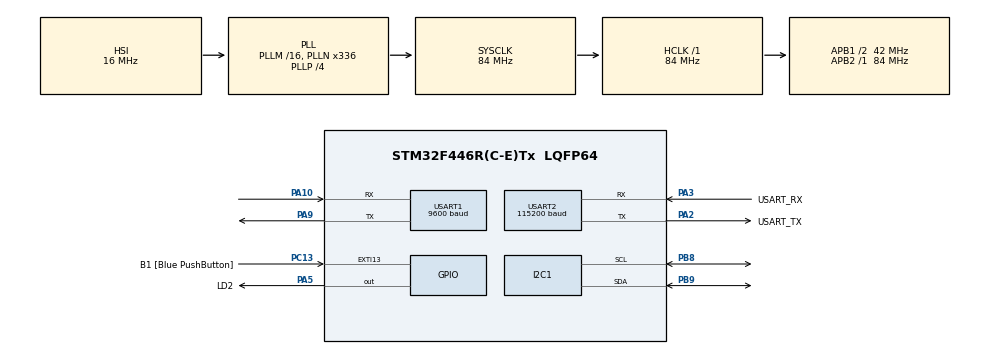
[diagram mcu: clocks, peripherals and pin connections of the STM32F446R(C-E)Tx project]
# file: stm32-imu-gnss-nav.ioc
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Mcu.Family=STM32F4
Mcu.Name=STM32F446R(C-E)Tx
Mcu.Package=LQFP64
NVIC.PriorityGroup=NVIC_PRIORITYGROUP_0
NVIC.USART1_IRQn=true\:0\:0\:false\:false\:true\:true\:true\:true
PA10.Mode=Asynchronous
PA10.Signal=USART1_RX
PA13.GPIO_Label=TMS
PA13.Mode=Serial_Wire
PA13.Signal=SYS_JTMS-SWDIO
PA14.GPIO_Label=TCK
PA14.Mode=Serial_Wire
PA14.Signal=SYS_JTCK-SWCLK
PA2.GPIO_Label=USART_TX
PA2.Mode=Asynchronous
PA2.Signal=USART2_TX
PA3.GPIO_Label=USART_RX
PA3.Mode=Asynchronous
PA3.Signal=USART2_RX
PA5.GPIO_Label=LD2
PA5.Signal=GPIO_Output
PA9.Mode=Asynchronous
PA9.Signal=USART1_TX
PB3.GPIO_Label=SWO
PB3.Signal=SYS_JTDO-SWO
PB8.Mode=I2C
PB8.Signal=I2C1_SCL
PB9.Mode=I2C
PB9.Signal=I2C1_SDA
PC13.GPIO_Label=B1 [Blue PushButton]
PC13.GPIO_ModeDefaultEXTI=GPIO_MODE_IT_FALLING
PC13.Signal=GPXTI13
PC14-OSC32_IN.Mode=LSE-External-Oscillator
PC14-OSC32_IN.Signal=RCC_OSC32_IN
PC15-OSC32_OUT.Mode=LSE-External-Oscillator
PC15-OSC32_OUT.Signal=RCC_OSC32_OUT
PH0-OSC_IN.Mode=HSE-External-Oscillator
PH0-OSC_IN.Signal=RCC_OSC_IN
PH1-OSC_OUT.Mode=HSE-External-Oscillator
PH1-OSC_OUT.Signal=RCC_OSC_OUT
ProjectManager.HeapSize=0x200
ProjectManager.StackSize=0x400
ProjectManager.TargetToolchain=STM32CubeIDE
RCC.48MHZClocksFreq_Value=84000000
RCC.AHBFreq_Value=84000000
RCC.APB1CLKDivider=RCC_HCLK_DIV2
RCC.APB1Freq_Value=42000000
RCC.APB1TimFreq_Value=84000000
RCC.APB2Freq_Value=84000000
RCC.APB2TimFreq_Value=84000000
RCC.CortexFreq_Value=84000000
RCC.FLatency-AdvancedSettings=FLASH_LATENCY_2
RCC.HCLKFreq_Value=84000000
RCC.HSE_VALUE=8000000
RCC.HSI_VALUE=16000000
RCC.PLLN=336
RCC.PLLP=RCC_PLLP_DIV4
RCC.SYSCLKFreq_VALUE=84000000
RCC.SYSCLKSource=RCC_SYSCLKSOURCE_PLLCLK
RCC.USBFreq_Value=168000000
RCC.VCOOutputFreq_Value=336000000
USART1.BaudRate=9600
USART1.VirtualMode=VM_ASYNC
USART2.BaudRate=115200
USART2.VirtualMode=VM_ASYNC
board=NUCLEO-F446RE

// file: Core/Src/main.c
/* USER CODE BEGIN Header */
/**
  ******************************************************************************
  * @file           : main.c
  * @brief          : Main program body
  ******************************************************************************
  * @attention
  *
  * Copyright (c) 2026 STMicroelectronics.
  * All rights reserved.
  *
  * This software is licensed under terms that can be found in the LICENSE file
  * in the root directory of this software component.
  * If no LICENSE file comes with this software, it is provided AS-IS.
  *
  ******************************************************************************
  */
/* USER CODE END Header */
#include "main.h"

/* USER CODE BEGIN Includes */
#include "stdio.h"
#include <string.h>   // para strncmp
#include <stdlib.h>   // para atof, atoi
/* USER CODE END Includes */

I2C_HandleTypeDef hi2c1;

UART_HandleTypeDef huart1;
UART_HandleTypeDef huart2;

/* USER CODE BEGIN PV */

/* ------------------------Variables glovales para el IMU ----------------------------------------- */
uint8_t who_am_i   = 0; //
uint8_t config     = 0;
uint8_t buffer[6]  = {0};
int16_t acc_x, acc_y, acc_z;
float   acc_x_g, acc_y_g, acc_z_g;
char    uart_buf[64];
/* ------------------------Variables glovales para el IMU ----------------------------------------- */

/* ------------------------Variables glovales para el GPS ----------------------------------------- */
uint8_t gps_rx_byte;
char gps_line_buffer[100];
char gps_buf_A[100];
char gps_buf_B[100];
char *gps_fill    = gps_buf_A;  // buffer para rellenar en al interrupción
char *gps_display = gps_buf_B;  // buffer para imprimir
uint8_t gps_line_index = 0; // El contador que va a hacer de puntero
volatile uint8_t gps_line_ready = 0;  //Necesario que sea volatile

typedef struct {
    uint8_t  valido;       // 1 si el fix es válido, 0 si no
    double   latitud;      // en grados decimales, positivo = Norte
    double   longitud;     // en grados decimales, positivo = Este
    float    altitud;      // metros sobre el nivel del mar
    uint8_t  num_satelites;
    float    hdop;
    char     hora[12];          // hhmmss.ss
    float    velocidad_kmh;   // de RMC
    float    rumbo;             // grados respecto al norte, de RMC

} GPS_Fix_t;
GPS_Fix_t gps_fix = {0};

/* ------------------------Variables glovales para el IMU ----------------------------------------- */

/* USER CODE END PV */

/* USER CODE BEGIN PFP */
/* Private function prototypes -----------------------------------------------*/
void SystemClock_Config(void);
static void MX_GPIO_Init(void);
static void MX_I2C1_Init(void);
static void MX_USART2_UART_Init(void);
static void MX_USART1_UART_Init(void);
int trocear_gga(char *sentence, char *campos[], int max_campos);
double nmea_a_decimal(const char *campo, char direccion);
uint8_t parsear_gngga(char *trama);   // antes: void parsear_gngga(char *trama);
uint8_t parsear_gnrmc(char *trama);

/* USER CODE END PFP */

/* USER CODE BEGIN 0 */

 //-----------------------------------codigo completamente necesaro para poder usar printf()---------------------------------------------------------

#ifdef __GNUC__
#define PUTCHAR_PROTOTYPE int __io_putchar(int ch)
#else
#define PUTCHAR_PROTOTYPE int fputc(int ch, FILE *f)
#endif

PUTCHAR_PROTOTYPE
{
/* Cambia &huart2 por la instancia de UART que esté conectada a tu ST-Link */
HAL_UART_Transmit(&huart2, (uint8_t *)&ch, 1, HAL_MAX_DELAY);
return ch;
}

 //-----------------------------------codigo completamente necesaro para poder usar printf()---------------------------------------------------------

/* USER CODE END 0 */

int main(void)
{

  /* MCU Configuration--------------------------------------------------------*/

  /* Reset of all peripherals, Initializes the Flash interface and the Systick. */
  HAL_Init();

  /* Configure the system clock */
  SystemClock_Config();

  /* Initialize all configured peripherals */
  MX_GPIO_Init();
  MX_I2C1_Init();
  MX_USART2_UART_Init();
  MX_USART1_UART_Init();
  /* USER CODE BEGIN 2 */

  printf("Sistema antes iniciado\r\n");

  printf("Escaneando bus I2C...\r\n");
  for (uint8_t addr = 1; addr < 128; addr++) {
      if (HAL_I2C_IsDeviceReady(&hi2c1, addr << 1, 2, 10) == HAL_OK) {
          printf("Dispositivo encontrado en: 0x%02X\r\n", addr);
      }
  }
  printf("Scan completado\r\n");

  // 1. Verificar que el IMU responde (WHO_AM_I debe devolver 0x6B)
  HAL_I2C_Mem_Read(&hi2c1, 0x6B << 1, 0x0F, 1, &who_am_i, 1, HAL_MAX_DELAY);

  printf("WHO_AM_I: 0x%02X\r\n", who_am_i);
  if (who_am_i != 0x6B) {
	  printf("no detecta el imu\r\n");

	  printf("---------------------------------------\r\n");
      // IMU no responde — revisar cableado y dirección I2C
      Error_Handler();
  }

  // 2. Activar acelerómetro: 104 Hz, rango ±2g
  config = 0x40;
  HAL_I2C_Mem_Write(&hi2c1, 0x6B << 1, 0x10, 1, &config, 1, HAL_MAX_DELAY);

  // 3. Activar giroscopio: 104 Hz, rango ±250 dps
  config = 0x40;
  HAL_I2C_Mem_Write(&hi2c1, 0x6B << 1, 0x11, 1, &config, 1, HAL_MAX_DELAY);

  HAL_Delay(10); // esperar a que el sensor arranque
  printf("Sistema iniciado\r\n");

  HAL_UART_Receive_IT(&huart1, &gps_rx_byte, 1);

  /* USER CODE END 2 */

  /* Infinite loop */
  /* USER CODE BEGIN WHILE */
  while (1)
  {
	  // Leer 6 bytes del acelerómetro desde OUTX_L_A (0x28)

	   HAL_I2C_Mem_Read(&hi2c1, 0x6B << 1, 0x28, 1, buffer, 6, HAL_MAX_DELAY);

	   //prueba lectura de acelerómetro
	      // Combinar bytes (little-endian)
	     /*
	      *  acc_x = (int16_t)(buffer[1] << 8 | buffer[0]);
	      acc_y = (int16_t)(buffer[3] << 8 | buffer[2]);
	      acc_z = (int16_t)(buffer[5] << 8 | buffer[4]);

	      // Convertir a g (sensibilidad 0.061 mg/LSB para ±2g)
	      acc_x_g = acc_x * 0.000061f;
	      acc_y_g = acc_y * 0.000061f;
	      acc_z_g = acc_z * 0.000061f;

	      // Enviar por UART para verlo en el monitor serie
	      printf("X:%.3f Y:%.3f Z:%.3f\r\n", acc_x_g, acc_y_g, acc_z_g);

	      HAL_Delay(100); // 10 Hz
	      *
	      */

	   if (gps_line_ready)
	   {
	       if (parsear_gngga(gps_display))          // <-- SOLO entra si de verdad era GGA
	       {
	           if (gps_fix.valido)
	           {
	               printf("POS[%s]: lat=%.6f lon=%.6f alt=%.1fm sat=%d hdop=%.2f\r\n",
	                      gps_fix.hora, gps_fix.latitud, gps_fix.longitud,
	                      gps_fix.altitud, gps_fix.num_satelites, gps_fix.hdop);
	           }
	           else
	           {
	               printf("GPS[%s]: sin fix\r\n", gps_fix.hora);
	           }
	       }
	       else if (parsear_gnrmc(gps_display))     // <-- ahora SÍ se evalúa cada línea, no solo cuando gps_line_ready es falso
	       {
	           printf("MOV: vel=%.2f km/h rumbo=%.1f grados\r\n",
	                  gps_fix.velocidad_kmh, gps_fix.rumbo);
	       }

	       gps_line_ready = 0;
	   }

	         // HAL_Delay(1000);

  }

    /* USER CODE END WHILE */

}

void SystemClock_Config(void)
{
  RCC_OscInitTypeDef RCC_OscInitStruct = {0};
  RCC_ClkInitTypeDef RCC_ClkInitStruct = {0};

  /** Configure the main internal regulator output voltage
  */
  __HAL_RCC_PWR_CLK_ENABLE();
  __HAL_PWR_VOLTAGESCALING_CONFIG(PWR_REGULATOR_VOLTAGE_SCALE3);

  /** Initializes the RCC Oscillators according to the specified parameters
  * in the RCC_OscInitTypeDef structure.
  */
  RCC_OscInitStruct.OscillatorType = RCC_OSCILLATORTYPE_HSI;
  RCC_OscInitStruct.HSIState = RCC_HSI_ON;
  RCC_OscInitStruct.HSICalibrationValue = RCC_HSICALIBRATION_DEFAULT;
  RCC_OscInitStruct.PLL.PLLState = RCC_PLL_ON;
  RCC_OscInitStruct.PLL.PLLSource = RCC_PLLSOURCE_HSI;
  RCC_OscInitStruct.PLL.PLLM = 16;
  RCC_OscInitStruct.PLL.PLLN = 336;
  RCC_OscInitStruct.PLL.PLLP = RCC_PLLP_DIV4;
  RCC_OscInitStruct.PLL.PLLQ = 2;
  RCC_OscInitStruct.PLL.PLLR = 2;
  if (HAL_RCC_OscConfig(&RCC_OscInitStruct) != HAL_OK)
  {
    Error_Handler();
  }

  /** Initializes the CPU, AHB and APB buses clocks
  */
  RCC_ClkInitStruct.ClockType = RCC_CLOCKTYPE_HCLK|RCC_CLOCKTYPE_SYSCLK
                              |RCC_CLOCKTYPE_PCLK1|RCC_CLOCKTYPE_PCLK2;
  RCC_ClkInitStruct.SYSCLKSource = RCC_SYSCLKSOURCE_PLLCLK;
  RCC_ClkInitStruct.AHBCLKDivider = RCC_SYSCLK_DIV1;
  RCC_ClkInitStruct.APB1CLKDivider = RCC_HCLK_DIV2;
  RCC_ClkInitStruct.APB2CLKDivider = RCC_HCLK_DIV1;

  if (HAL_RCC_ClockConfig(&RCC_ClkInitStruct, FLASH_LATENCY_2) != HAL_OK)
  {
    Error_Handler();
  }
}

static void MX_I2C1_Init(void)
{

  hi2c1.Instance = I2C1;
  hi2c1.Init.ClockSpeed = 100000;
  hi2c1.Init.DutyCycle = I2C_DUTYCYCLE_2;
  hi2c1.Init.OwnAddress1 = 0;
  hi2c1.Init.AddressingMode = I2C_ADDRESSINGMODE_7BIT;
  hi2c1.Init.DualAddressMode = I2C_DUALADDRESS_DISABLE;
  hi2c1.Init.OwnAddress2 = 0;
  hi2c1.Init.GeneralCallMode = I2C_GENERALCALL_DISABLE;
  hi2c1.Init.NoStretchMode = I2C_NOSTRETCH_DISABLE;
  if (HAL_I2C_Init(&hi2c1) != HAL_OK)
  {
    Error_Handler();
  }

}

static void MX_USART1_UART_Init(void)
{

  huart1.Instance = USART1;
  huart1.Init.BaudRate = 9600;
  huart1.Init.WordLength = UART_WORDLENGTH_8B;
  huart1.Init.StopBits = UART_STOPBITS_1;
  huart1.Init.Parity = UART_PARITY_NONE;
  huart1.Init.Mode = UART_MODE_TX_RX;
  huart1.Init.HwFlowCtl = UART_HWCONTROL_NONE;
  huart1.Init.OverSampling = UART_OVERSAMPLING_16;
  if (HAL_UART_Init(&huart1) != HAL_OK)
  {
    Error_Handler();
  }

}

static void MX_USART2_UART_Init(void)
{

  huart2.Instance = USART2;
  huart2.Init.BaudRate = 115200;
  huart2.Init.WordLength = UART_WORDLENGTH_8B;
  huart2.Init.StopBits = UART_STOPBITS_1;
  huart2.Init.Parity = UART_PARITY_NONE;
  huart2.Init.Mode = UART_MODE_TX_RX;
  huart2.Init.HwFlowCtl = UART_HWCONTROL_NONE;
  huart2.Init.OverSampling = UART_OVERSAMPLING_16;
  if (HAL_UART_Init(&huart2) != HAL_OK)
  {
    Error_Handler();
  }

}

static void MX_GPIO_Init(void)
{
  GPIO_InitTypeDef GPIO_InitStruct = {0};

  /* GPIO Ports Clock Enable */
  __HAL_RCC_GPIOC_CLK_ENABLE();
  __HAL_RCC_GPIOH_CLK_ENABLE();
  __HAL_RCC_GPIOA_CLK_ENABLE();
  __HAL_RCC_GPIOB_CLK_ENABLE();

  /*Configure GPIO pin Output Level */
  HAL_GPIO_WritePin(LD2_GPIO_Port, LD2_Pin, GPIO_PIN_RESET);

  /*Configure GPIO pin : B1_Pin */
  GPIO_InitStruct.Pin = B1_Pin;
  GPIO_InitStruct.Mode = GPIO_MODE_IT_FALLING;
  GPIO_InitStruct.Pull = GPIO_NOPULL;
  HAL_GPIO_Init(B1_GPIO_Port, &GPIO_InitStruct);

  /*Configure GPIO pin : LD2_Pin */
  GPIO_InitStruct.Pin = LD2_Pin;
  GPIO_InitStruct.Mode = GPIO_MODE_OUTPUT_PP;
  GPIO_InitStruct.Pull = GPIO_NOPULL;
  GPIO_InitStruct.Speed = GPIO_SPEED_FREQ_LOW;
  HAL_GPIO_Init(LD2_GPIO_Port, &GPIO_InitStruct);

}

/* USER CODE BEGIN 4 */

void HAL_UART_RxCpltCallback(UART_HandleTypeDef *huart)
{
    if (huart->Instance == USART1)//en caso de que salte otra interrupción que no sea la que busco
    {
    	if (gps_rx_byte == '\n' || gps_line_index >= 99)
    		{
    	     gps_fill[gps_line_index] = '\0';

    	     char *tmp = gps_display;
    	     gps_display = gps_fill;
    	     gps_fill = tmp;

    	     gps_line_ready = 1;
    	     gps_line_index = 0;
    	    }
    	else if (gps_rx_byte != '\r')
    	    {
    	    gps_fill[gps_line_index++] = gps_rx_byte;
    	    }

        HAL_UART_Receive_IT(&huart1, &gps_rx_byte, 1);
    }
}

#define GGA_MAX_CAMPOS 16

// Divide 'sentence' por comas (y corta en el '*' del checksum).
// Modifica la propia cadena metiendo '\0' donde había comas.
// Devuelve cuántos campos encontró, y los deja en el array 'campos'.
int trocear_gga(char *sentence, char *campos[], int max_campos)
{
    int n = 0;
    campos[n++] = sentence;

    for (char *p = sentence; *p != '\0'; p++)
    {
        if (*p == ',' )
        {
            *p = '\0';
            if (n < max_campos) campos[n++] = p + 1;
        }
        else if (*p == '*')
        {
            *p = '\0'; // cortamos aquí, ya no nos interesa el checksum
            break;
        }
    }
    return n;
}

//Conversión de valores GPS nmea a Decimal
double nmea_a_decimal(const char *campo, char direccion)
{
    if (campo[0] == '\0') return 0.0; // campo vacío, sin dato

    double valor_bruto = atof(campo);           // ej: 3723.13571
    int grados = (int)(valor_bruto / 100);       // ej: 37
    double minutos = valor_bruto - (grados * 100); // ej: 23.13571

    double decimal = grados + (minutos / 60.0);  // ej: 37.3856...

    if (direccion == 'S' || direccion == 'W')
        decimal = -decimal; // Sur y Oeste son negativos por convención

    return decimal;

}

//Parseador principal de la trama gngga
uint8_t parsear_gngga(char *trama)   // antes: void
{
    if (strncmp(trama, "$GNGGA", 6) != 0) return 0;   // antes: return; (a secas)

    char *campos[GGA_MAX_CAMPOS];
    int n = trocear_gga(trama, campos, GGA_MAX_CAMPOS);
    if (n < 10) return 0;   // antes: return;

    int fix_quality = atoi(campos[6]);
    gps_fix.valido = (fix_quality > 0) ? 1 : 0;

    strncpy(gps_fix.hora, campos[1], sizeof(gps_fix.hora) - 1);
    gps_fix.hora[sizeof(gps_fix.hora) - 1] = '\0';

    if (gps_fix.valido)
    {
        gps_fix.latitud       = nmea_a_decimal(campos[2], campos[3][0]);
        gps_fix.longitud      = nmea_a_decimal(campos[4], campos[5][0]);
        gps_fix.num_satelites = (uint8_t)atoi(campos[7]);
        gps_fix.hdop          = atof(campos[8]);
        gps_fix.altitud       = atof(campos[9]);
    }

    return 1;   // <-- NUEVO: confirma que sí era GGA y se procesó
}
uint8_t parsear_gnrmc(char *trama)
{
    if (strncmp(trama, "$GNRMC", 6) != 0) return 0;

    char *campos[GGA_MAX_CAMPOS];
    int n = trocear_gga(trama, campos, GGA_MAX_CAMPOS);
    if (n < 8) return 0;

    if (campos[2][0] == 'A')
    {
        float velocidad_nudos = atof(campos[7]);
        gps_fix.velocidad_kmh = velocidad_nudos * 1.852f;   // <-- conversión aquí
        gps_fix.rumbo         = (campos[8][0] != '\0') ? atof(campos[8]) : 0.0f;
    }

    return 1;
}

/* USER CODE END 4 */

void Error_Handler(void)
{
  __disable_irq();
  while (1)
  {
  }
}
